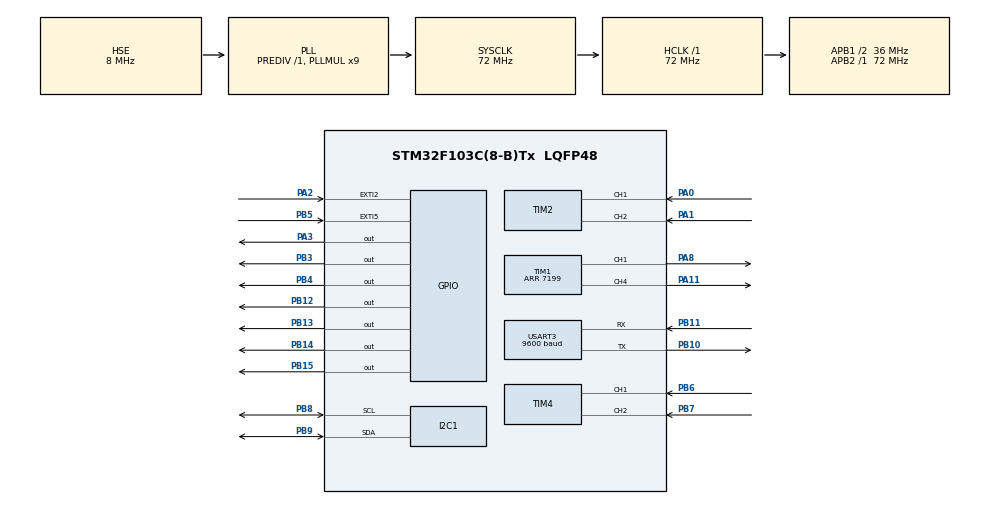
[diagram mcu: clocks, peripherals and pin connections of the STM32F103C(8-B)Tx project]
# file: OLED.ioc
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Mcu.Family=STM32F1
Mcu.Name=STM32F103C(8-B)Tx
Mcu.Package=LQFP48
NVIC.EXTI2_IRQn=true\:0\:0\:false\:false\:true\:true\:true\:true
NVIC.EXTI9_5_IRQn=true\:0\:0\:false\:false\:true\:true\:true\:true
NVIC.PriorityGroup=NVIC_PRIORITYGROUP_4
NVIC.USART3_IRQn=true\:0\:0\:false\:false\:true\:true\:true\:true
PA0-WKUP.Signal=S_TIM2_CH1_ETR
PA1.Signal=S_TIM2_CH2
PA11.Signal=S_TIM1_CH4
PA13.Mode=Serial_Wire
PA13.Signal=SYS_JTMS-SWDIO
PA14.Mode=Serial_Wire
PA14.Signal=SYS_JTCK-SWCLK
PA2.GPIO_ModeDefaultEXTI=GPIO_MODE_IT_RISING_FALLING
PA2.Signal=GPXTI2
PA3.GPIO_Speed=GPIO_SPEED_FREQ_HIGH
PA3.Signal=GPIO_Output
PA8.Signal=S_TIM1_CH1
PB10.Mode=Asynchronous
PB10.Signal=USART3_TX
PB11.Mode=Asynchronous
PB11.Signal=USART3_RX
PB12.Signal=GPIO_Output
PB13.Signal=GPIO_Output
PB14.Signal=GPIO_Output
PB15.Signal=GPIO_Output
PB3.Signal=GPIO_Output
PB4.Signal=GPIO_Output
PB5.GPIO_ModeDefaultEXTI=GPIO_MODE_IT_FALLING
PB5.GPIO_PuPd=GPIO_PULLUP
PB5.Signal=GPXTI5
PB6.Signal=S_TIM4_CH1
PB7.Signal=S_TIM4_CH2
PB8.Mode=I2C
PB8.Signal=I2C1_SCL
PB9.Mode=I2C
PB9.Signal=I2C1_SDA
PC14-OSC32_IN.Mode=LSE-External-Oscillator
PC14-OSC32_IN.Signal=RCC_OSC32_IN
PC15-OSC32_OUT.Mode=LSE-External-Oscillator
PC15-OSC32_OUT.Signal=RCC_OSC32_OUT
PD0-OSC_IN.Mode=HSE-External-Oscillator
PD0-OSC_IN.Signal=RCC_OSC_IN
PD1-OSC_OUT.Mode=HSE-External-Oscillator
PD1-OSC_OUT.Signal=RCC_OSC_OUT
ProjectManager.HeapSize=0x200
ProjectManager.StackSize=0x400
ProjectManager.TargetToolchain=MDK-ARM V5.32
RCC.AHBFreq_Value=72000000
RCC.APB1CLKDivider=RCC_HCLK_DIV2
RCC.APB1Freq_Value=36000000
RCC.APB1TimFreq_Value=72000000
RCC.APB2Freq_Value=72000000
RCC.APB2TimFreq_Value=72000000
RCC.HCLKFreq_Value=72000000
RCC.PLLMUL=RCC_PLL_MUL9
RCC.PLLSourceVirtual=RCC_PLLSOURCE_HSE
RCC.SYSCLKFreq_VALUE=72000000
RCC.SYSCLKSource=RCC_SYSCLKSOURCE_PLLCLK
RCC.USBFreq_Value=72000000
SH.S_TIM1_CH1.0=TIM1_CH1,PWM Generation1 CH1
SH.S_TIM1_CH4.0=TIM1_CH4,PWM Generation4 CH4
SH.S_TIM2_CH1_ETR.0=TIM2_CH1,Encoder_Interface
SH.S_TIM2_CH2.0=TIM2_CH2,Encoder_Interface
SH.S_TIM4_CH1.0=TIM4_CH1,Encoder_Interface
SH.S_TIM4_CH2.0=TIM4_CH2,Encoder_Interface
TIM1.Channel-PWM\ Generation1\ CH1=TIM_CHANNEL_1
TIM1.Channel-PWM\ Generation4\ CH4=TIM_CHANNEL_4
TIM1.Period=7199
TIM1.Pulse-PWM\ Generation1\ CH1=7200
TIM2.EncoderMode=TIM_ENCODERMODE_TI12
TIM3.Prescaler=71
TIM4.EncoderMode=TIM_ENCODERMODE_TI12
USART3.BaudRate=9600
USART3.VirtualMode=VM_ASYNC
VP_TIM3_VS_ClockSourceINT.Mode=Internal
board=custom

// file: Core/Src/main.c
/* USER CODE BEGIN Header */
/**
  ******************************************************************************
  * @file           : main.c
  * @brief          : Main program body
  ******************************************************************************
  * @attention
  *
  * Copyright (c) 2025 STMicroelectronics.
  * All rights reserved.
  *
  * This software is licensed under terms that can be found in the LICENSE file
  * in the root directory of this software component.
  * If no LICENSE file comes with this software, it is provided AS-IS.
  *
  ******************************************************************************
  */
/* USER CODE END Header */
#include "main.h"
#include "i2c.h"
#include "tim.h"
#include "usart.h"
#include "gpio.h"

/* USER CODE BEGIN Includes */
#include "oled.h"
#include "IIC.h"
#include "inv_mpu.h"
#include "inv_mpu_dmp_motion_driver.h"
#include "mpu6050.h"
#include <stdio.h>
#include "sr04.h"
#include "motor.h"
#include "Encoder.h"
/* USER CODE END Includes */

/* USER CODE BEGIN PV */
extern float roll;

extern int Encoder_Left,Encoder_Right;
uint8_t display_buf[20];
uint32_t sys_tick;
extern float distance;
extern uint8_t rx_buf[2];

/* USER CODE END PV */

void SystemClock_Config(void);

int main(void)
{

  /* MCU Configuration--------------------------------------------------------*/

  /* Reset of all peripherals, Initializes the Flash interface and the Systick. */
  HAL_Init();

  /* Configure the system clock */
  SystemClock_Config();

  /* USER CODE BEGIN SysInit */
	void Read();

  /* USER CODE END SysInit */

  /* Initialize all configured peripherals */
  MX_GPIO_Init();
  MX_I2C1_Init();
  MX_TIM3_Init();
  MX_TIM1_Init();
  MX_TIM2_Init();
  MX_TIM4_Init();
  MX_USART3_UART_Init();
  /* USER CODE BEGIN 2 */
	OLED_Init();
	OLED_Clear();
	MPU_Init();
	mpu_dmp_init();
	OLED_ShowString(0,00,"Init Sucess",16);

	HAL_NVIC_SetPriority(EXTI9_5_IRQn, 0, 0);
  HAL_NVIC_EnableIRQ(EXTI9_5_IRQn);

	HAL_TIM_PWM_Start(&htim1,TIM_CHANNEL_1);
	HAL_TIM_PWM_Start(&htim1,TIM_CHANNEL_4);
	HAL_TIM_Encoder_Start(&htim2,TIM_CHANNEL_ALL);
	HAL_TIM_Encoder_Start(&htim4,TIM_CHANNEL_ALL);
	HAL_UART_Receive_IT(&huart3,rx_buf,1);
	Load(0,0);
	OLED_Clear();
  /* USER CODE END 2 */

  /* Infinite loop */
  /* USER CODE BEGIN WHILE */
  while (1)
  {

//		sprintf((char *)display_buf,"Encoder_L:%d   ",Encoder_Left);
//		OLED_ShowString(0,4,display_buf,16);
//		sprintf((char *)display_buf,"Encoder_L:%d   ",Encoder_Right);
//		OLED_ShowString(0,6,display_buf,16);

		sprintf((char *)display_buf,"Encoder_L:%d   ",Encoder_Left);
		OLED_ShowString(0,0,display_buf,16);
		sprintf((char *)display_buf,"Encoder_R:%d   ",Encoder_Right);
		OLED_ShowString(0,2,display_buf,16);
		sprintf((char *)display_buf,"roll:%.1f   ",roll);
		OLED_ShowString(0,4,display_buf,16);
		GET_Distance();
		sprintf((char *)display_buf,"distance:%.1f  ",distance);
		OLED_ShowString(0,6,display_buf,12);

//		HAL_Delay(100);
//		mpu_dmp_get_data(&pitch,&roll,&yaw);
//		sprintf((char *)display_buf,"roll:%.2f   ",roll);
//		OLED_ShowString(0,2,display_buf,16);
//		GET_Distance();
//		sprintf((char *)display_buf,"distance:%.2f   ",distance);
//		OLED_ShowString(0,4,display_buf,12);

    /* USER CODE END WHILE */

  }
}

void SystemClock_Config(void)
{
  RCC_OscInitTypeDef RCC_OscInitStruct = {0};
  RCC_ClkInitTypeDef RCC_ClkInitStruct = {0};

  /** Initializes the RCC Oscillators according to the specified parameters
  * in the RCC_OscInitTypeDef structure.
  */
  RCC_OscInitStruct.OscillatorType = RCC_OSCILLATORTYPE_HSE;
  RCC_OscInitStruct.HSEState = RCC_HSE_ON;
  RCC_OscInitStruct.HSEPredivValue = RCC_HSE_PREDIV_DIV1;
  RCC_OscInitStruct.HSIState = RCC_HSI_ON;
  RCC_OscInitStruct.PLL.PLLState = RCC_PLL_ON;
  RCC_OscInitStruct.PLL.PLLSource = RCC_PLLSOURCE_HSE;
  RCC_OscInitStruct.PLL.PLLMUL = RCC_PLL_MUL9;
  if (HAL_RCC_OscConfig(&RCC_OscInitStruct) != HAL_OK)
  {
    Error_Handler();
  }

  /** Initializes the CPU, AHB and APB buses clocks
  */
  RCC_ClkInitStruct.ClockType = RCC_CLOCKTYPE_HCLK|RCC_CLOCKTYPE_SYSCLK
                              |RCC_CLOCKTYPE_PCLK1|RCC_CLOCKTYPE_PCLK2;
  RCC_ClkInitStruct.SYSCLKSource = RCC_SYSCLKSOURCE_PLLCLK;
  RCC_ClkInitStruct.AHBCLKDivider = RCC_SYSCLK_DIV1;
  RCC_ClkInitStruct.APB1CLKDivider = RCC_HCLK_DIV2;
  RCC_ClkInitStruct.APB2CLKDivider = RCC_HCLK_DIV1;

  if (HAL_RCC_ClockConfig(&RCC_ClkInitStruct, FLASH_LATENCY_2) != HAL_OK)
  {
    Error_Handler();
  }
}

void Error_Handler(void)
{
  __disable_irq();
  while (1)
  {
  }
}
